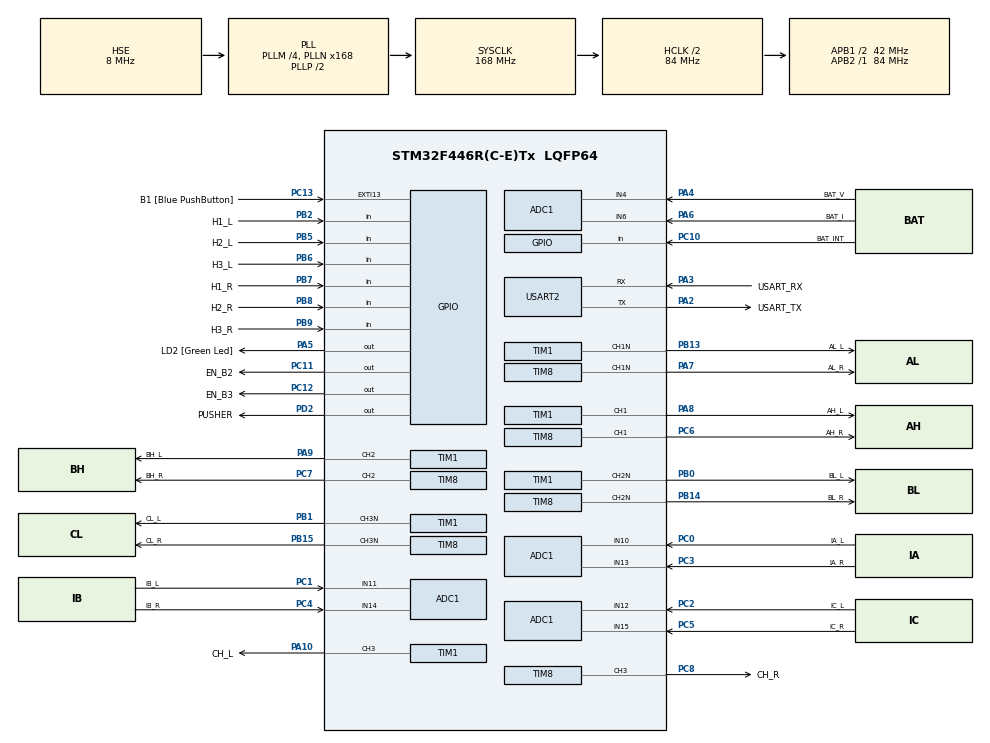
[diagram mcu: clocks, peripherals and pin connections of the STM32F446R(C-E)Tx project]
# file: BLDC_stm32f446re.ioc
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ADC1.Channel-0\#ChannelRegularConversion=ADC_CHANNEL_10
ADC1.Channel-1\#ChannelRegularConversion=ADC_CHANNEL_4
ADC1.Channel-2\#ChannelRegularConversion=ADC_CHANNEL_4
ADC1.Channel-3\#ChannelRegularConversion=ADC_CHANNEL_4
ADC1.Channel-4\#ChannelRegularConversion=ADC_CHANNEL_4
ADC1.Channel-5\#ChannelRegularConversion=ADC_CHANNEL_4
ADC1.Channel-6\#ChannelRegularConversion=ADC_CHANNEL_4
ADC1.Channel-7\#ChannelRegularConversion=ADC_CHANNEL_4
ADC1.NbrOfConversion=8
ADC1.NbrOfConversionFlag=1
ADC1.Rank-0\#ChannelRegularConversion=1
ADC1.Rank-1\#ChannelRegularConversion=2
ADC1.Rank-2\#ChannelRegularConversion=3
ADC1.Rank-3\#ChannelRegularConversion=4
ADC1.Rank-4\#ChannelRegularConversion=5
ADC1.Rank-5\#ChannelRegularConversion=6
ADC1.Rank-6\#ChannelRegularConversion=7
ADC1.Rank-7\#ChannelRegularConversion=8
ADC1.SamplingTime-0\#ChannelRegularConversion=ADC_SAMPLETIME_3CYCLES
ADC1.SamplingTime-1\#ChannelRegularConversion=ADC_SAMPLETIME_3CYCLES
ADC1.SamplingTime-2\#ChannelRegularConversion=ADC_SAMPLETIME_3CYCLES
ADC1.SamplingTime-3\#ChannelRegularConversion=ADC_SAMPLETIME_3CYCLES
ADC1.SamplingTime-4\#ChannelRegularConversion=ADC_SAMPLETIME_3CYCLES
ADC1.SamplingTime-5\#ChannelRegularConversion=ADC_SAMPLETIME_3CYCLES
ADC1.SamplingTime-6\#ChannelRegularConversion=ADC_SAMPLETIME_3CYCLES
ADC1.SamplingTime-7\#ChannelRegularConversion=ADC_SAMPLETIME_3CYCLES
ADC1.master=1
Mcu.Family=STM32F4
Mcu.Name=STM32F446R(C-E)Tx
Mcu.Package=LQFP64
NVIC.PriorityGroup=NVIC_PRIORITYGROUP_0
NVIC.TIM6_DAC_IRQn=true\:0\:0\:false\:false\:true\:true\:true\:true
NVIC.TIM7_IRQn=true\:0\:0\:false\:false\:true\:true\:true\:true
PA10.GPIO_Label=CH_L 
PA10.GPIO_PuPd=GPIO_PULLDOWN
PA10.Signal=S_TIM1_CH3
PA13.GPIO_Label=TMS
PA13.Mode=Trace_Asynchronous_SW
PA13.Signal=SYS_JTMS-SWDIO
PA14.GPIO_Label=TCK
PA14.Mode=Trace_Asynchronous_SW
PA14.Signal=SYS_JTCK-SWCLK
PA2.GPIO_Label=USART_TX
PA2.Mode=Asynchronous
PA2.Signal=USART2_TX
PA3.GPIO_Label=USART_RX
PA3.Mode=Asynchronous
PA3.Signal=USART2_RX
PA4.GPIO_Label=BAT_V
PA4.Signal=ADCx_IN4
PA5.GPIO_Label=LD2 [Green Led]
PA5.Signal=GPIO_Output
PA6.GPIO_Label=BAT_I
PA6.Signal=ADCx_IN6
PA7.GPIO_Label=AL_R 
PA7.GPIO_PuPd=GPIO_PULLDOWN
PA7.Mode=PWM Generation1 CH1 CH1N
PA7.Signal=TIM8_CH1N
PA8.GPIO_Label=AH_L 
PA8.GPIO_PuPd=GPIO_PULLDOWN
PA8.Signal=S_TIM1_CH1
PA9.GPIO_Label=BH_L 
PA9.GPIO_PuPd=GPIO_PULLDOWN
PA9.Signal=S_TIM1_CH2
PB0.GPIO_Label=BL_L 
PB0.GPIO_PuPd=GPIO_PULLDOWN
PB0.Mode=PWM Generation2 CH2 CH2N
PB0.Signal=TIM1_CH2N
PB1.GPIO_Label=CL_L 
PB1.GPIO_PuPd=GPIO_PULLDOWN
PB1.Mode=PWM Generation3 CH3 CH3N
PB1.Signal=TIM1_CH3N
PB13.GPIO_Label=AL_L 
PB13.GPIO_PuPd=GPIO_PULLDOWN
PB13.Mode=PWM Generation1 CH1 CH1N
PB13.Signal=TIM1_CH1N
PB14.GPIO_Label=BL_R
PB14.GPIO_PuPd=GPIO_PULLDOWN
PB14.Mode=PWM Generation2 CH2 CH2N
PB14.Signal=TIM8_CH2N
PB15.GPIO_Label=CL_R 
PB15.GPIO_PuPd=GPIO_PULLDOWN
PB15.Mode=PWM Generation3 CH3 CH3N
PB15.Signal=TIM8_CH3N
PB2.GPIO_Label=H1_L
PB2.Signal=GPIO_Input
PB3.GPIO_Label=SWO
PB3.Mode=Trace_Asynchronous_SW
PB3.Signal=SYS_JTDO-SWO
PB5.GPIO_Label=H2_L 
PB5.Signal=GPIO_Input
PB6.GPIO_Label=H3_L 
PB6.Signal=GPIO_Input
PB7.GPIO_Label=H1_R
PB7.Signal=GPIO_Input
PB8.GPIO_Label=H2_R
PB8.Signal=GPIO_Input
PB9.GPIO_Label=H3_R
PB9.Signal=GPIO_Input
PC0.GPIO_Label=IA_L 
PC0.Signal=ADCx_IN10
PC1.GPIO_Label=IB_L 
PC1.Signal=ADCx_IN11
PC10.GPIO_Label=BAT_INT 
PC10.Signal=GPIO_Input
PC11.GPIO_Label=EN_B2 
PC11.GPIO_PuPd=GPIO_PULLDOWN
PC11.Signal=GPIO_Output
PC12.GPIO_Label=EN_B3
PC12.GPIO_PuPd=GPIO_PULLDOWN
PC12.Signal=GPIO_Output
PC13.GPIO_Label=B1 [Blue PushButton]
PC13.GPIO_ModeDefaultEXTI=GPIO_MODE_IT_FALLING
PC13.Signal=GPXTI13
PC14-OSC32_IN.Mode=LSE-External-Oscillator
PC14-OSC32_IN.Signal=RCC_OSC32_IN
PC15-OSC32_OUT.Mode=LSE-External-Oscillator
PC15-OSC32_OUT.Signal=RCC_OSC32_OUT
PC2.GPIO_Label=IC_L 
PC2.Signal=ADCx_IN12
PC3.GPIO_Label=IA_R
PC3.Signal=ADCx_IN13
PC4.GPIO_Label=IB_R
PC4.Signal=ADCx_IN14
PC5.GPIO_Label=IC_R
PC5.Signal=ADCx_IN15
PC6.GPIO_Label=AH_R 
PC6.GPIO_PuPd=GPIO_PULLDOWN
PC6.Signal=S_TIM8_CH1
PC7.GPIO_Label=BH_R 
PC7.GPIO_PuPd=GPIO_PULLDOWN
PC7.Signal=S_TIM8_CH2
PC8.GPIO_Label=CH_R 
PC8.GPIO_PuPd=GPIO_PULLDOWN
PC8.Signal=S_TIM8_CH3
PD2.GPIO_Label=PUSHER
PD2.GPIO_PuPd=GPIO_PULLDOWN
PD2.Signal=GPIO_Output
PH0-OSC_IN.Mode=HSE-External-Oscillator
PH0-OSC_IN.Signal=RCC_OSC_IN
PH1-OSC_OUT.Mode=HSE-External-Oscillator
PH1-OSC_OUT.Signal=RCC_OSC_OUT
ProjectManager.HeapSize=0x200
ProjectManager.StackSize=0x400
ProjectManager.TargetToolchain=STM32CubeIDE
RCC.48MHZClocksFreq_Value=84000000
RCC.AHBCLKDivider=RCC_SYSCLK_DIV2
RCC.AHBFreq_Value=84000000
RCC.APB1CLKDivider=RCC_HCLK_DIV2
RCC.APB1Freq_Value=42000000
RCC.APB1TimFreq_Value=84000000
RCC.APB2Freq_Value=84000000
RCC.APB2TimFreq_Value=84000000
RCC.CortexFreq_Value=84000000
RCC.FLatency-AdvancedSettings=FLASH_LATENCY_2
RCC.HCLKFreq_Value=84000000
RCC.HSE_VALUE=8000000
RCC.HSI_VALUE=16000000
RCC.PLLM=4
RCC.PLLN=168
RCC.PLLQ=7
RCC.PLLSourceVirtual=RCC_PLLSOURCE_HSE
RCC.SYSCLKFreq_VALUE=168000000
RCC.SYSCLKSource=RCC_SYSCLKSOURCE_PLLCLK
RCC.USBFreq_Value=48000000
RCC.VCOOutputFreq_Value=336000000
SH.ADCx_IN10.0=ADC1_IN10,IN10
SH.ADCx_IN11.0=ADC1_IN11,IN11
SH.ADCx_IN12.0=ADC1_IN12,IN12
SH.ADCx_IN13.0=ADC1_IN13,IN13
SH.ADCx_IN14.0=ADC1_IN14,IN14
SH.ADCx_IN15.0=ADC1_IN15,IN15
SH.ADCx_IN4.0=ADC1_IN4,IN4
SH.ADCx_IN6.0=ADC1_IN6,IN6
SH.S_TIM1_CH1.0=TIM1_CH1,PWM Generation1 CH1 CH1N
SH.S_TIM1_CH2.0=TIM1_CH2,PWM Generation2 CH2 CH2N
SH.S_TIM1_CH3.0=TIM1_CH3,PWM Generation3 CH3 CH3N
SH.S_TIM8_CH1.0=TIM8_CH1,PWM Generation1 CH1 CH1N
SH.S_TIM8_CH2.0=TIM8_CH2,PWM Generation2 CH2 CH2N
SH.S_TIM8_CH3.0=TIM8_CH3,PWM Generation3 CH3 CH3N
TIM1.Channel-PWM\ Generation1\ CH1\ CH1N=TIM_CHANNEL_1
TIM1.Channel-PWM\ Generation2\ CH2\ CH2N=TIM_CHANNEL_2
TIM1.Channel-PWM\ Generation3\ CH3\ CH3N=TIM_CHANNEL_3
TIM1.CounterMode=TIM_COUNTERMODE_UP
TIM1.DeadTime=2
TIM1.OCNIdleState_1=TIM_OCNIDLESTATE_RESET
TIM1.OCNIdleState_2=TIM_OCNIDLESTATE_RESET
TIM1.OCNIdleState_3=TIM_OCNIDLESTATE_RESET
TIM1.OffStateRunMode=TIM_OSSR_ENABLE
TIM1.Period=100-1
TIM1.Prescaler=28-1
TIM1.Pulse-PWM\ Generation1\ CH1\ CH1N=0
TIM1.Pulse-PWM\ Generation2\ CH2\ CH2N=0
TIM1.Pulse-PWM\ Generation3\ CH3\ CH3N=0
TIM6.Period=20-1
TIM6.Prescaler=84-1
TIM6.TIM_MasterOutputTrigger=TIM_TRGO_RESET
TIM7.Period=1
TIM7.Prescaler=8400-1
TIM8.Channel-PWM\ Generation1\ CH1\ CH1N=TIM_CHANNEL_1
TIM8.Channel-PWM\ Generation2\ CH2\ CH2N=TIM_CHANNEL_2
TIM8.Channel-PWM\ Generation3\ CH3\ CH3N=TIM_CHANNEL_3
TIM8.DeadTime=2
TIM8.OffStateRunMode=TIM_OSSR_ENABLE
TIM8.Period=100-1
TIM8.Prescaler=28-1
TIM8.Pulse-PWM\ Generation1\ CH1\ CH1N=0
TIM8.Pulse-PWM\ Generation2\ CH2\ CH2N=0
TIM8.Pulse-PWM\ Generation3\ CH3\ CH3N=0
USART2.VirtualMode=VM_ASYNC
VP_TIM1_VS_ClockSourceINT.Mode=Internal
VP_TIM6_VS_ClockSourceINT.Mode=Enable_Timer
VP_TIM7_VS_ClockSourceINT.Mode=Enable_Timer
VP_TIM8_VS_ClockSourceINT.Mode=Internal
board=NUCLEO-F446RE

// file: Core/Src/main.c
/* USER CODE BEGIN Header */
/**
  ******************************************************************************
  * @file           : main.c
  * @brief          : Main program body
  ******************************************************************************
  * @attention
  *
  * Copyright (c) 2022 STMicroelectronics.
  * All rights reserved.
  *
  * This software is licensed under terms that can be found in the LICENSE file
  * in the root directory of this software component.
  * If no LICENSE file comes with this software, it is provided AS-IS.
  *
  ******************************************************************************
  */

/*  The following Table  describes the TIM1 Channels states (counterclockwise):
  -----------------------------------------------------------
  |Hall 1/2/3|  101  |  100  |  110  |  010  |  011  |  001  |
   ----------------------------------------------------------
  | aH-Ch1 |   0   |   0   |   0   |   1   |   1   |   0   |
   ----------------------------------------------------------
  | aL-Ch1N|   1   |   1   |   0   |   0   |   0   |   0   |
   ----------------------------------------------------------
  | bH-Ch2 |   1   |   0   |   0   |   0   |   0   |   1   |
   ----------------------------------------------------------
  | bL-Ch2N|   0   |   0   |   1   |   1   |   0   |   0   |
   ----------------------------------------------------------
  | cH-Ch3 |   0   |   1   |   1   |   0   |   0   |   0   |
   ----------------------------------------------------------
  | cL-Ch3N|   0   |   0   |   0   |   0   |   1   |   1   |
   ----------------------------------------------------------

   001 -> 011 -> 010 -> 110 -> 100 -> 101
*/

/*  The following Table  describes the TIM1 Channels states (clockwise):
  -----------------------------------------------------------
  |Hall 1/2/3|  101  |  100  |  110  |  010  |  011  |  001  |
   ----------------------------------------------------------
  | aH-Ch1 |   1   |   1   |   0   |   0   |   0   |   0   |
   ----------------------------------------------------------
  | aL-Ch1N|   0   |   0   |   0   |   1   |   1   |   0   |
   ----------------------------------------------------------
  | bH-Ch2 |   0   |   0   |   1   |   1   |   0   |   0   |
   ----------------------------------------------------------
  | bL-Ch2N|   1   |   0   |   0   |   0   |   0   |   1   |
   ----------------------------------------------------------
  | cH-Ch3 |   0   |   0   |   0   |   0   |   1   |   1   |
   ----------------------------------------------------------
  | cL-Ch3N|   0   |   1   |   1   |   0   |   0   |   0   |
   ----------------------------------------------------------

   101 -> 100 -> 110 -> 010 -> 011 -> 001
*/

/* USER CODE END Header */
#include "main.h"

/* USER CODE BEGIN Includes */
#include <stdio.h>
#include <stdlib.h>
#include "functions.h"
#include "pls.h"

//p number of poles pairs
// !!WARNING : IF CHANGED DEFINE, UPDATE FUNCTIONS.h FILE !!
#define P 8
#define FREQ_TIM7 10000
#define MAX_SPEED 20000
#define MIN_SPEED -20000
#define DC_MIN -85
#define DC_MAX 85

//hall sensors value
struct hall hall_L = {.h1=0,.h2=0,.h3=0,.h123=0,.prev_h123=0,.tickS=0,.tickP=0};
struct hall hall_R = {.h1=0,.h2=0,.h3=0,.h123=0,.prev_h123=0,.tickS=0,.tickP=0};

//enable bits for PWM : sense=1 -> motor clockwise // sense=0 -> motor anti clockwise
struct PWM PWM_L = {.aH=0,.aL=0,.bH=0,.bL=0,.cH=0,.cL=0,.sense=1};
struct PWM PWM_R = {.aH=0,.aL=0,.bH=0,.bL=0,.cH=0,.cL=0,.sense=0};

//speed control
struct dataSpeed dataSpeed_L = {.speed_ref=0,.speed=0,.error=0,.prev_error=0,.cmd=0,.cmdsat=0,.prev_cmd=0,.prev_cmdsat=0};
struct dataSpeed dataSpeed_R = {.speed_ref=0,.speed=0,.error=0,.prev_error=0,.cmd=0,.cmdsat=0,.prev_cmd=0,.prev_cmdsat=0};

//SYSTEM COMMAND
//int16_t speed_refs[3]={3500,6000,0}; 	//in ms : 15sec at Fe=1kHz acquition

//PID settings
struct PID Speed_P = {.Kp=0.008f,.w_i=0,.Te=0.01f,.a0=0,.a1=0};
//struct PID Speed_PI = {.Kp=0.008f,.w_i=7,.Te=0.01f,.a0=0.00828,.a1=0.00772};
//struct PID Speed_PI = {.Kp=0.012f,.w_i=7,.Te=0.01f,.a0=0.01242,.a1=0.01158};
//struct PID Speed_PI = {.Kp=0.02f,.w_i=7,.Te=0.01f,.a0=0.0207,.a1=0.0193};
//struct PID Speed_PI = {.Kp=0.015f,.w_i=10,.Te=0.01f,.a0=0.021,.a1=0.0145};
//struct PID Speed_PI = {.Kp=0.018f,.w_i=7,.Te=0.01f,.a0=0.0105,.a1=0.0095};
struct PID Speed_PI = {.Kp=0.018f,.w_i=7,.Te=0.01f,.a0=0.0189,.a1=0.0171};

uint8_t millis_cpt=0; 	//to generate 1ms time
uint8_t millis_div=0;  //counter to match with TIM freq, to adapt to 1000Hz freq
uint16_t millis=0;    	//1ms time step

const uint16_t N=14499; 		//sample number for system identification

int16_t cpt=0;

//enable for SVI

bool en_SVI=0;
bool en_MOVE=0;
bool en_STOP=0;
bool ended=0;
volatile uint16_t i=0; //read speed data

uint16_t samples=1000;
int16_t speedRef_L[1000]={0}; //10s at 100Hz
int16_t speedRef_R[1000]={0}; //10s at 100Hz
//volatile int16_t* speedRef_L;
//volatile int16_t* speedRef_R;

/* USER CODE END Includes */

 ADC_HandleTypeDef hadc1;

TIM_HandleTypeDef htim1;
TIM_HandleTypeDef htim6;
TIM_HandleTypeDef htim7;
TIM_HandleTypeDef htim8;

UART_HandleTypeDef huart2;

void SystemClock_Config(void);
static void MX_GPIO_Init(void);
static void MX_USART2_UART_Init(void);
static void MX_ADC1_Init(void);
static void MX_TIM1_Init(void);
static void MX_TIM8_Init(void);
static void MX_TIM6_Init(void);
static void MX_TIM7_Init(void);

int main(void)
{
  /* USER CODE BEGIN 1 */

	//initialisation variables

  /* USER CODE END 1 */

  /* MCU Configuration--------------------------------------------------------*/

  /* Reset of all peripherals, Initializes the Flash interface and the Systick. */
  HAL_Init();

  /* Configure the system clock */
  SystemClock_Config();

  /* Initialize all configured peripherals */
  MX_GPIO_Init();
  MX_USART2_UART_Init();
  MX_ADC1_Init();
  MX_TIM1_Init();
  MX_TIM8_Init();
  MX_TIM6_Init();
  MX_TIM7_Init();
  /* USER CODE BEGIN 2 */

  //PWM START TIMER1
  HAL_TIM_PWM_Start(&htim1, TIM_CHANNEL_1);
  HAL_TIMEx_PWMN_Start(&htim1, TIM_CHANNEL_1);
  HAL_TIM_PWM_Start(&htim1, TIM_CHANNEL_2);
  HAL_TIMEx_PWMN_Start(&htim1, TIM_CHANNEL_2);
  HAL_TIM_PWM_Start(&htim1, TIM_CHANNEL_3);
  HAL_TIMEx_PWMN_Start(&htim1, TIM_CHANNEL_3);

  //PWM START TIMER8
  HAL_TIM_PWM_Start(&htim8, TIM_CHANNEL_1);
  HAL_TIMEx_PWMN_Start(&htim8, TIM_CHANNEL_1);
  HAL_TIM_PWM_Start(&htim8, TIM_CHANNEL_2);
  HAL_TIMEx_PWMN_Start(&htim8, TIM_CHANNEL_2);
  HAL_TIM_PWM_Start(&htim8, TIM_CHANNEL_3);
  HAL_TIMEx_PWMN_Start(&htim8, TIM_CHANNEL_3);

  //START INTERRUPTS
  HAL_TIM_Base_Start_IT(&htim6);
  HAL_TIM_Base_Start_IT(&htim7);
  TIM7->ARR = FREQ_TIM7/100; //set TIM7 interrupt frequency 100Hz

  //set interrupts priority
  //void HAL_NVIC_SetPriority (IRQn_Type IRQn, uint32_t PreemptPriority, uint32_t SubPriority)

  //tim1 priority, tim7, tim6
  //HAL_NVIC_SetPriority (TIM1 IRQn, uint32_t PreemptPriority, uint32_t SubPriority);

  //generate speed command (STEP)
  //void generateStep(uint16_t t0, uint8_t value0, uint16_t t1, uint8_t value1, uint16_t samples,  uint16_t  data[])
  //generateStep(10, 1000, 5000, 2500, N, speed_data);
  //volatile int16_t speedRef_R[1000]={0}; //10s at 100Hz

  // serial protocol return parameters
  int16_t distance_robot=1000; //distance for the robot in mm
  int16_t angle_robot=90; //angle for the robot in degree
  uint16_t speed_max = 1000; //maximum speed reference possible (1000-1500 ticks/s)

  int16_t id = SRO; //give a distance SPO, give an angle SRO

  /* USER CODE END 2 */

  /* Infinite loop */
  while (1)
  {

    /* USER CODE BEGIN 3 */

	  switch(id) {
		  case SPO:
			  parseurSpeed(distance_robot,0,speed_max);
			  en_MOVE=1;
			  millis=0;
			  i=0;
			  id=0xff;
			  break;

		  case SRO:
			  parseurSpeed(0,angle_robot,speed_max);
			  en_MOVE=1;
			  millis=0;
			  i=0;
			  id=0xff;
			  break;

		  default:
			  break;
	  }

  }
}
  /* USER CODE END 3 */

void SystemClock_Config(void)
{
  RCC_OscInitTypeDef RCC_OscInitStruct = {0};
  RCC_ClkInitTypeDef RCC_ClkInitStruct = {0};

  /** Configure the main internal regulator output voltage
  */
  __HAL_RCC_PWR_CLK_ENABLE();
  __HAL_PWR_VOLTAGESCALING_CONFIG(PWR_REGULATOR_VOLTAGE_SCALE3);

  /** Initializes the RCC Oscillators according to the specified parameters
  * in the RCC_OscInitTypeDef structure.
  */
  RCC_OscInitStruct.OscillatorType = RCC_OSCILLATORTYPE_HSE;
  RCC_OscInitStruct.HSEState = RCC_HSE_ON;
  RCC_OscInitStruct.PLL.PLLState = RCC_PLL_ON;
  RCC_OscInitStruct.PLL.PLLSource = RCC_PLLSOURCE_HSE;
  RCC_OscInitStruct.PLL.PLLM = 4;
  RCC_OscInitStruct.PLL.PLLN = 168;
  RCC_OscInitStruct.PLL.PLLP = RCC_PLLP_DIV2;
  RCC_OscInitStruct.PLL.PLLQ = 7;
  RCC_OscInitStruct.PLL.PLLR = 2;
  if (HAL_RCC_OscConfig(&RCC_OscInitStruct) != HAL_OK)
  {
    Error_Handler();
  }

  /** Initializes the CPU, AHB and APB buses clocks
  */
  RCC_ClkInitStruct.ClockType = RCC_CLOCKTYPE_HCLK|RCC_CLOCKTYPE_SYSCLK
                              |RCC_CLOCKTYPE_PCLK1|RCC_CLOCKTYPE_PCLK2;
  RCC_ClkInitStruct.SYSCLKSource = RCC_SYSCLKSOURCE_PLLCLK;
  RCC_ClkInitStruct.AHBCLKDivider = RCC_SYSCLK_DIV2;
  RCC_ClkInitStruct.APB1CLKDivider = RCC_HCLK_DIV2;
  RCC_ClkInitStruct.APB2CLKDivider = RCC_HCLK_DIV1;

  if (HAL_RCC_ClockConfig(&RCC_ClkInitStruct, FLASH_LATENCY_2) != HAL_OK)
  {
    Error_Handler();
  }
}

static void MX_ADC1_Init(void)
{

  ADC_ChannelConfTypeDef sConfig = {0};

  /** Configure the global features of the ADC (Clock, Resolution, Data Alignment and number of conversion)
  */
  hadc1.Instance = ADC1;
  hadc1.Init.ClockPrescaler = ADC_CLOCK_SYNC_PCLK_DIV4;
  hadc1.Init.Resolution = ADC_RESOLUTION_12B;
  hadc1.Init.ScanConvMode = ENABLE;
  hadc1.Init.ContinuousConvMode = DISABLE;
  hadc1.Init.DiscontinuousConvMode = DISABLE;
  hadc1.Init.ExternalTrigConvEdge = ADC_EXTERNALTRIGCONVEDGE_NONE;
  hadc1.Init.ExternalTrigConv = ADC_SOFTWARE_START;
  hadc1.Init.DataAlign = ADC_DATAALIGN_RIGHT;
  hadc1.Init.NbrOfConversion = 8;
  hadc1.Init.DMAContinuousRequests = DISABLE;
  hadc1.Init.EOCSelection = ADC_EOC_SINGLE_CONV;
  if (HAL_ADC_Init(&hadc1) != HAL_OK)
  {
    Error_Handler();
  }

  /** Configure for the selected ADC regular channel its corresponding rank in the sequencer and its sample time.
  */
  sConfig.Channel = ADC_CHANNEL_10;
  sConfig.Rank = 1;
  sConfig.SamplingTime = ADC_SAMPLETIME_3CYCLES;
  if (HAL_ADC_ConfigChannel(&hadc1, &sConfig) != HAL_OK)
  {
    Error_Handler();
  }

  /** Configure for the selected ADC regular channel its corresponding rank in the sequencer and its sample time.
  */
  sConfig.Channel = ADC_CHANNEL_4;
  sConfig.Rank = 2;
  if (HAL_ADC_ConfigChannel(&hadc1, &sConfig) != HAL_OK)
  {
    Error_Handler();
  }

  /** Configure for the selected ADC regular channel its corresponding rank in the sequencer and its sample time.
  */
  sConfig.Rank = 3;
  if (HAL_ADC_ConfigChannel(&hadc1, &sConfig) != HAL_OK)
  {
    Error_Handler();
  }

  /** Configure for the selected ADC regular channel its corresponding rank in the sequencer and its sample time.
  */
  sConfig.Rank = 4;
  if (HAL_ADC_ConfigChannel(&hadc1, &sConfig) != HAL_OK)
  {
    Error_Handler();
  }

  /** Configure for the selected ADC regular channel its corresponding rank in the sequencer and its sample time.
  */
  sConfig.Rank = 5;
  if (HAL_ADC_ConfigChannel(&hadc1, &sConfig) != HAL_OK)
  {
    Error_Handler();
  }

  /** Configure for the selected ADC regular channel its corresponding rank in the sequencer and its sample time.
  */
  sConfig.Rank = 6;
  if (HAL_ADC_ConfigChannel(&hadc1, &sConfig) != HAL_OK)
  {
    Error_Handler();
  }

  /** Configure for the selected ADC regular channel its corresponding rank in the sequencer and its sample time.
  */
  sConfig.Rank = 7;
  if (HAL_ADC_ConfigChannel(&hadc1, &sConfig) != HAL_OK)
  {
    Error_Handler();
  }

  /** Configure for the selected ADC regular channel its corresponding rank in the sequencer and its sample time.
  */
  sConfig.Rank = 8;
  if (HAL_ADC_ConfigChannel(&hadc1, &sConfig) != HAL_OK)
  {
    Error_Handler();
  }

}

static void MX_TIM1_Init(void)
{

  TIM_ClockConfigTypeDef sClockSourceConfig = {0};
  TIM_MasterConfigTypeDef sMasterConfig = {0};
  TIM_OC_InitTypeDef sConfigOC = {0};
  TIM_BreakDeadTimeConfigTypeDef sBreakDeadTimeConfig = {0};

  htim1.Instance = TIM1;
  htim1.Init.Prescaler = 28-1;
  htim1.Init.CounterMode = TIM_COUNTERMODE_UP;
  htim1.Init.Period = 100-1;
  htim1.Init.ClockDivision = TIM_CLOCKDIVISION_DIV1;
  htim1.Init.RepetitionCounter = 0;
  htim1.Init.AutoReloadPreload = TIM_AUTORELOAD_PRELOAD_DISABLE;
  if (HAL_TIM_Base_Init(&htim1) != HAL_OK)
  {
    Error_Handler();
  }
  sClockSourceConfig.ClockSource = TIM_CLOCKSOURCE_INTERNAL;
  if (HAL_TIM_ConfigClockSource(&htim1, &sClockSourceConfig) != HAL_OK)
  {
    Error_Handler();
  }
  if (HAL_TIM_PWM_Init(&htim1) != HAL_OK)
  {
    Error_Handler();
  }
  sMasterConfig.MasterOutputTrigger = TIM_TRGO_RESET;
  sMasterConfig.MasterSlaveMode = TIM_MASTERSLAVEMODE_DISABLE;
  if (HAL_TIMEx_MasterConfigSynchronization(&htim1, &sMasterConfig) != HAL_OK)
  {
    Error_Handler();
  }
  sConfigOC.OCMode = TIM_OCMODE_PWM1;
  sConfigOC.Pulse = 0;
  sConfigOC.OCPolarity = TIM_OCPOLARITY_HIGH;
  sConfigOC.OCNPolarity = TIM_OCNPOLARITY_HIGH;
  sConfigOC.OCFastMode = TIM_OCFAST_DISABLE;
  sConfigOC.OCIdleState = TIM_OCIDLESTATE_RESET;
  sConfigOC.OCNIdleState = TIM_OCNIDLESTATE_RESET;
  if (HAL_TIM_PWM_ConfigChannel(&htim1, &sConfigOC, TIM_CHANNEL_1) != HAL_OK)
  {
    Error_Handler();
  }
  if (HAL_TIM_PWM_ConfigChannel(&htim1, &sConfigOC, TIM_CHANNEL_2) != HAL_OK)
  {
    Error_Handler();
  }
  if (HAL_TIM_PWM_ConfigChannel(&htim1, &sConfigOC, TIM_CHANNEL_3) != HAL_OK)
  {
    Error_Handler();
  }
  sBreakDeadTimeConfig.OffStateRunMode = TIM_OSSR_ENABLE;
  sBreakDeadTimeConfig.OffStateIDLEMode = TIM_OSSI_DISABLE;
  sBreakDeadTimeConfig.LockLevel = TIM_LOCKLEVEL_OFF;
  sBreakDeadTimeConfig.DeadTime = 2;
  sBreakDeadTimeConfig.BreakState = TIM_BREAK_DISABLE;
  sBreakDeadTimeConfig.BreakPolarity = TIM_BREAKPOLARITY_HIGH;
  sBreakDeadTimeConfig.AutomaticOutput = TIM_AUTOMATICOUTPUT_DISABLE;
  if (HAL_TIMEx_ConfigBreakDeadTime(&htim1, &sBreakDeadTimeConfig) != HAL_OK)
  {
    Error_Handler();
  }
  HAL_TIM_MspPostInit(&htim1);

}

static void MX_TIM6_Init(void)
{

  TIM_MasterConfigTypeDef sMasterConfig = {0};

  htim6.Instance = TIM6;
  htim6.Init.Prescaler = 84-1;
  htim6.Init.CounterMode = TIM_COUNTERMODE_UP;
  htim6.Init.Period = 20-1;
  htim6.Init.AutoReloadPreload = TIM_AUTORELOAD_PRELOAD_DISABLE;
  if (HAL_TIM_Base_Init(&htim6) != HAL_OK)
  {
    Error_Handler();
  }
  sMasterConfig.MasterOutputTrigger = TIM_TRGO_RESET;
  sMasterConfig.MasterSlaveMode = TIM_MASTERSLAVEMODE_DISABLE;
  if (HAL_TIMEx_MasterConfigSynchronization(&htim6, &sMasterConfig) != HAL_OK)
  {
    Error_Handler();
  }

}

static void MX_TIM7_Init(void)
{

  TIM_MasterConfigTypeDef sMasterConfig = {0};

  htim7.Instance = TIM7;
  htim7.Init.Prescaler = 8400-1;
  htim7.Init.CounterMode = TIM_COUNTERMODE_UP;
  htim7.Init.Period = 1;
  htim7.Init.AutoReloadPreload = TIM_AUTORELOAD_PRELOAD_DISABLE;
  if (HAL_TIM_Base_Init(&htim7) != HAL_OK)
  {
    Error_Handler();
  }
  sMasterConfig.MasterOutputTrigger = TIM_TRGO_RESET;
  sMasterConfig.MasterSlaveMode = TIM_MASTERSLAVEMODE_DISABLE;
  if (HAL_TIMEx_MasterConfigSynchronization(&htim7, &sMasterConfig) != HAL_OK)
  {
    Error_Handler();
  }

}

static void MX_TIM8_Init(void)
{

  TIM_ClockConfigTypeDef sClockSourceConfig = {0};
  TIM_MasterConfigTypeDef sMasterConfig = {0};
  TIM_OC_InitTypeDef sConfigOC = {0};
  TIM_BreakDeadTimeConfigTypeDef sBreakDeadTimeConfig = {0};

  htim8.Instance = TIM8;
  htim8.Init.Prescaler = 28-1;
  htim8.Init.CounterMode = TIM_COUNTERMODE_UP;
  htim8.Init.Period = 100-1;
  htim8.Init.ClockDivision = TIM_CLOCKDIVISION_DIV1;
  htim8.Init.RepetitionCounter = 0;
  htim8.Init.AutoReloadPreload = TIM_AUTORELOAD_PRELOAD_DISABLE;
  if (HAL_TIM_Base_Init(&htim8) != HAL_OK)
  {
    Error_Handler();
  }
  sClockSourceConfig.ClockSource = TIM_CLOCKSOURCE_INTERNAL;
  if (HAL_TIM_ConfigClockSource(&htim8, &sClockSourceConfig) != HAL_OK)
  {
    Error_Handler();
  }
  if (HAL_TIM_PWM_Init(&htim8) != HAL_OK)
  {
    Error_Handler();
  }
  sMasterConfig.MasterOutputTrigger = TIM_TRGO_RESET;
  sMasterConfig.MasterSlaveMode = TIM_MASTERSLAVEMODE_DISABLE;
  if (HAL_TIMEx_MasterConfigSynchronization(&htim8, &sMasterConfig) != HAL_OK)
  {
    Error_Handler();
  }
  sConfigOC.OCMode = TIM_OCMODE_PWM1;
  sConfigOC.Pulse = 0;
  sConfigOC.OCPolarity = TIM_OCPOLARITY_HIGH;
  sConfigOC.OCNPolarity = TIM_OCNPOLARITY_HIGH;
  sConfigOC.OCFastMode = TIM_OCFAST_DISABLE;
  sConfigOC.OCIdleState = TIM_OCIDLESTATE_RESET;
  sConfigOC.OCNIdleState = TIM_OCNIDLESTATE_RESET;
  if (HAL_TIM_PWM_ConfigChannel(&htim8, &sConfigOC, TIM_CHANNEL_1) != HAL_OK)
  {
    Error_Handler();
  }
  if (HAL_TIM_PWM_ConfigChannel(&htim8, &sConfigOC, TIM_CHANNEL_2) != HAL_OK)
  {
    Error_Handler();
  }
  if (HAL_TIM_PWM_ConfigChannel(&htim8, &sConfigOC, TIM_CHANNEL_3) != HAL_OK)
  {
    Error_Handler();
  }
  sBreakDeadTimeConfig.OffStateRunMode = TIM_OSSR_ENABLE;
  sBreakDeadTimeConfig.OffStateIDLEMode = TIM_OSSI_DISABLE;
  sBreakDeadTimeConfig.LockLevel = TIM_LOCKLEVEL_OFF;
  sBreakDeadTimeConfig.DeadTime = 2;
  sBreakDeadTimeConfig.BreakState = TIM_BREAK_DISABLE;
  sBreakDeadTimeConfig.BreakPolarity = TIM_BREAKPOLARITY_HIGH;
  sBreakDeadTimeConfig.AutomaticOutput = TIM_AUTOMATICOUTPUT_DISABLE;
  if (HAL_TIMEx_ConfigBreakDeadTime(&htim8, &sBreakDeadTimeConfig) != HAL_OK)
  {
    Error_Handler();
  }
  HAL_TIM_MspPostInit(&htim8);

}

static void MX_USART2_UART_Init(void)
{

  huart2.Instance = USART2;
  huart2.Init.BaudRate = 115200;
  huart2.Init.WordLength = UART_WORDLENGTH_8B;
  huart2.Init.StopBits = UART_STOPBITS_1;
  huart2.Init.Parity = UART_PARITY_NONE;
  huart2.Init.Mode = UART_MODE_TX_RX;
  huart2.Init.HwFlowCtl = UART_HWCONTROL_NONE;
  huart2.Init.OverSampling = UART_OVERSAMPLING_16;
  if (HAL_UART_Init(&huart2) != HAL_OK)
  {
    Error_Handler();
  }

}

static void MX_GPIO_Init(void)
{
  GPIO_InitTypeDef GPIO_InitStruct = {0};

  /* GPIO Ports Clock Enable */
  __HAL_RCC_GPIOC_CLK_ENABLE();
  __HAL_RCC_GPIOH_CLK_ENABLE();
  __HAL_RCC_GPIOA_CLK_ENABLE();
  __HAL_RCC_GPIOB_CLK_ENABLE();
  __HAL_RCC_GPIOD_CLK_ENABLE();

  /*Configure GPIO pin Output Level */
  HAL_GPIO_WritePin(LD2_GPIO_Port, LD2_Pin, GPIO_PIN_RESET);

  /*Configure GPIO pin Output Level */
  HAL_GPIO_WritePin(GPIOC, EN_B2_Pin|EN_B3_Pin, GPIO_PIN_RESET);

  /*Configure GPIO pin Output Level */
  HAL_GPIO_WritePin(PUSHER_GPIO_Port, PUSHER_Pin, GPIO_PIN_RESET);

  /*Configure GPIO pin : B1_Pin */
  GPIO_InitStruct.Pin = B1_Pin;
  GPIO_InitStruct.Mode = GPIO_MODE_IT_FALLING;
  GPIO_InitStruct.Pull = GPIO_NOPULL;
  HAL_GPIO_Init(B1_GPIO_Port, &GPIO_InitStruct);

  /*Configure GPIO pin : LD2_Pin */
  GPIO_InitStruct.Pin = LD2_Pin;
  GPIO_InitStruct.Mode = GPIO_MODE_OUTPUT_PP;
  GPIO_InitStruct.Pull = GPIO_NOPULL;
  GPIO_InitStruct.Speed = GPIO_SPEED_FREQ_LOW;
  HAL_GPIO_Init(LD2_GPIO_Port, &GPIO_InitStruct);

  /*Configure GPIO pins : H1_L_Pin H2_L_Pin H3_L_Pin H1_R_Pin
                           H2_R_Pin H3_R_Pin */
  GPIO_InitStruct.Pin = H1_L_Pin|H2_L_Pin|H3_L_Pin|H1_R_Pin
                          |H2_R_Pin|H3_R_Pin;
  GPIO_InitStruct.Mode = GPIO_MODE_INPUT;
  GPIO_InitStruct.Pull = GPIO_NOPULL;
  HAL_GPIO_Init(GPIOB, &GPIO_InitStruct);

  /*Configure GPIO pin : BAT_INT_Pin */
  GPIO_InitStruct.Pin = BAT_INT_Pin;
  GPIO_InitStruct.Mode = GPIO_MODE_INPUT;
  GPIO_InitStruct.Pull = GPIO_NOPULL;
  HAL_GPIO_Init(BAT_INT_GPIO_Port, &GPIO_InitStruct);

  /*Configure GPIO pins : EN_B2_Pin EN_B3_Pin */
  GPIO_InitStruct.Pin = EN_B2_Pin|EN_B3_Pin;
  GPIO_InitStruct.Mode = GPIO_MODE_OUTPUT_PP;
  GPIO_InitStruct.Pull = GPIO_PULLDOWN;
  GPIO_InitStruct.Speed = GPIO_SPEED_FREQ_LOW;
  HAL_GPIO_Init(GPIOC, &GPIO_InitStruct);

  /*Configure GPIO pin : PUSHER_Pin */
  GPIO_InitStruct.Pin = PUSHER_Pin;
  GPIO_InitStruct.Mode = GPIO_MODE_OUTPUT_PP;
  GPIO_InitStruct.Pull = GPIO_PULLDOWN;
  GPIO_InitStruct.Speed = GPIO_SPEED_FREQ_LOW;
  HAL_GPIO_Init(PUSHER_GPIO_Port, &GPIO_InitStruct);

}

/* USER CODE BEGIN 4 */

/**
 * General purpose functions
 */

/**
 * Interrupt function
 *
 */
void HAL_TIM_PeriodElapsedCallback(TIM_HandleTypeDef *htim)
{

	//check the timer version (generic function)
	if (htim == &htim6)
	/* 50kHz interrupt for hall reading and Moore state machine calculations
	*/

	{

		if(en_STOP)
		{
			//stop all
			dataSpeed_L.cmd = 0; dataSpeed_R.cmd = 0;
			PWM_L.aH=0; PWM_L.aL=0; PWM_L.bH=0; PWM_L.bL=0; PWM_L.cH=0; PWM_L.cL=0; PWM_L.sense=0;
			PWM_R.aH=0; PWM_R.aL=0; PWM_R.bH=0; PWM_R.bL=0; PWM_R.cH=0; PWM_R.cL=0; PWM_R.sense=1;
		}
		else
		{

			//time generator
			if (millis < N)//NOOOOKKK
			{
				if (millis_cpt >=50) //millis -> 1ms
				{
					millis++;	millis_cpt=0;
				}
				else
				{
					millis_cpt++;
				}
			}

			if(en_SVI || en_MOVE)
			{
				//read hall values
				readHall_L(&hall_L);	readHall_R(&hall_R);

				//calculate gate enable bits
				decodeHall(&hall_L,&PWM_L); decodeHall(&hall_R,&PWM_R);

				//change output values
				updateOutput_L(PWM_L); updateOutput_R(PWM_R);
			}
		}
	}

	if (htim == &htim7)
	{
	/* Update duty cycle if needed at 100Hz
	*/
		if(!en_STOP)
		{
			if(en_SVI || en_MOVE)
			{
				//COmmand send to motor
				if (millis<10000)
				{

					dataSpeed_L.speed_ref=speedRef_L[i];
					dataSpeed_R.speed_ref=speedRef_R[i];
					i++;

					//dataSpeed_L.speed_ref=5000;
					//dataSpeed_R.speed_ref=5000;
				}
				else
				{
					dataSpeed_L.speed_ref=0;
					dataSpeed_R.speed_ref=0;
				}
			}
		}

		else
		{
			//end command
			dataSpeed_L.speed_ref=0;
			dataSpeed_R.speed_ref=0;

		}

		//Calculate speed correction
		PIDS_PI(&Speed_PI, &dataSpeed_L,&dataSpeed_R,&hall_L, &hall_R);

		//update PWM level with min/max saturation
		writeCommand_L(&PWM_L,&dataSpeed_L);
		writeCommand_R(&PWM_R,&dataSpeed_R);

		//printf("ref L : %d | mes L : %d |  cmd L : %d\n",dataSpeed_L.speed_ref,dataSpeed_L.speed,dataSpeed_L.cmdsat);
		//printf("ref R : %d | mes R : %d |  cmd R : %d\n",dataSpeed_R.speed_ref,dataSpeed_R.speed,dataSpeed_R.cmdsat);
		//reset variables
		dataSpeed_L.prev_cmd=dataSpeed_L.cmd;
		dataSpeed_L.prev_error=dataSpeed_L.error;
		dataSpeed_R.prev_cmd=dataSpeed_R.cmd;
		dataSpeed_R.prev_error=dataSpeed_R.error;

		if(dataSpeed_L.speed_ref==0 && calculateSpeed(&hall_L)==0 & dataSpeed_R.speed_ref==0 && calculateSpeed(&hall_R)==0)
		{
			en_SVI=0;
			en_MOVE=0;
			en_STOP=0;
			ended=1;

			//reset all variables needed for STOP
			millis=0; millis_div=0; i=0;
			hall_L.h1=0;hall_L.h2=0;hall_L.h3=0;hall_L.tickS=0;
			hall_R.h1=0;hall_R.h2=0;hall_R.h3=0;hall_R.tickS=0;

			//reverse sense (FIXME : reverse speed)
			PWM_L.aH=0;PWM_L.aL=0;PWM_L.bH=0;PWM_L.bL=0;PWM_L.cH=0;PWM_L.cL=0;PWM_L.sense=0;
			PWM_R.aH=0;PWM_R.aL=0;PWM_R.bH=0;PWM_R.bL=0;PWM_R.cH=0;PWM_R.cL=0;PWM_R.sense=1;

			//speed control
			dataSpeed_L.speed_ref=0;dataSpeed_L.speed=0;dataSpeed_L.error=0;dataSpeed_L.prev_error=0;dataSpeed_L.cmd=0;dataSpeed_L.prev_cmd=0;
			dataSpeed_R.speed_ref=0;dataSpeed_R.speed=0;dataSpeed_R.error=0;dataSpeed_R.prev_error=0;dataSpeed_R.cmd=0;dataSpeed_R.prev_cmd=0;
		}

	}

}

/* USER CODE END 4 */

void Error_Handler(void)
{
  __disable_irq();
  while (1)
  {
  }
}
